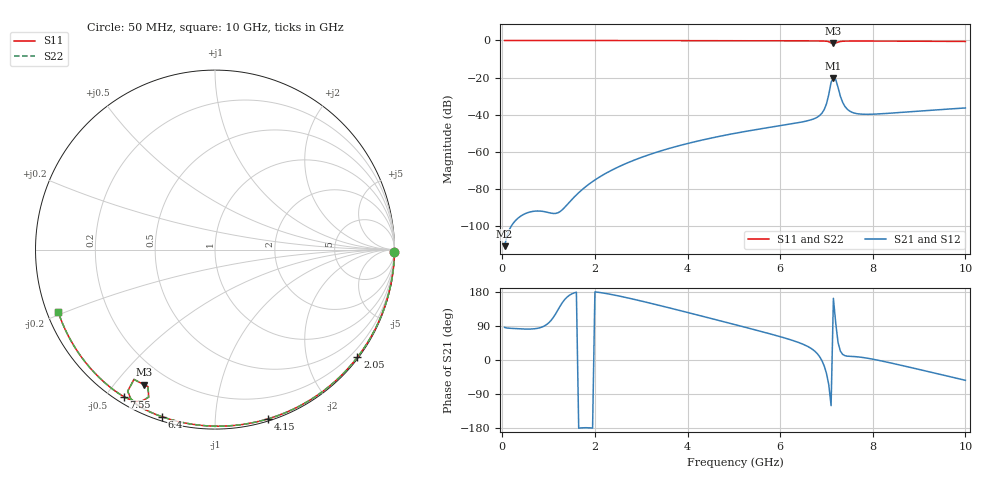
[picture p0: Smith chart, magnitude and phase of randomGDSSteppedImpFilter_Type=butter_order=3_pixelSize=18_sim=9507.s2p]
! freq	dB(S11)	phase(S11)	dB(S12)	phase(S12)
!  dB(S21)	phase(S21)	dB(S22)	phase(S22)
!S-par simulation data
#  GHz  S  DB  R 50
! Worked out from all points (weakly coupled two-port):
!   200 points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, 50 MHz to 10 GHz, reference 50 ohm
!   highest |S21| = -20.30 dB at 7.15 GHz (marker M1); lowest = -111.1 dB at 50 MHz (marker M2)
!   lowest |S11| = -1.4 dB at 7.15 GHz (marker M3), VSWR 12.33, Z = 5.53 - j30 ohm
!   |S11| at or under -10 dB: nowhere
!   |S22| runs from -1.4 to 0.0 dB; largest |S21 - S12| = 0
!   S11 on the Smith chart (normalised r, x): 50 MHz: open; 2.05 GHz: 0.03, -2.98; 4.15 GHz: 0.02, -1.36; 6.4 GHz: 0.02, -0.73; 7.55 GHz: 0.02, -0.56; 10 GHz: 0.03, -0.19
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0.05  -0.00 -0.9  -111.06 86.1  -111.06 86.1  -0.00 -0.9
1.75  -0.04 -31.7  -79.98 -178.8  -79.98 -178.8  -0.04 -31.7
2.05  -0.05 -37.0  -74.50 179.0  -74.50 179.0  -0.05 -37.0
2.65  -0.06 -47.5  -66.65 165.5  -66.65 165.5  -0.06 -47.5
3.4  -0.08 -60.2  -59.80 143.8  -59.80 143.8  -0.08 -60.2
4.15  -0.10 -72.5  -54.72 120.8  -54.72 120.8  -0.10 -72.5
5.05  -0.13 -86.8  -50.01 92.6  -50.01 92.6  -0.13 -86.8
6.4  -0.20 -107.7  -44.36 46.1  -44.36 46.1  -0.20 -107.7
6.7  -0.23 -112.6  -42.57 28.0  -42.57 28.0  -0.23 -112.6
6.85  -0.27 -115.5  -40.60 9.3  -40.60 9.3  -0.27 -115.5
6.95  -0.33 -117.9  -37.39 -15.3  -37.39 -15.3  -0.33 -117.9
7  -0.42 -119.6  -34.23 -35.2  -34.23 -35.2  -0.42 -119.5
7.1  -1.38 -122.0  -22.58 -120.5  -22.58 -120.5  -1.39 -121.9
7.15  -1.41 -117.7  -20.30 162.8  -20.30 162.8  -1.41 -117.6
7.2  -1.41 -116.0  -21.09 97.6  -21.09 97.6  -1.40 -116.0
7.3  -0.55 -115.8  -30.09 23.4  -30.09 23.4  -0.55 -115.8
7.35  -0.42 -117.4  -33.44 14.7  -33.44 14.7  -0.42 -117.4
7.45  -0.34 -119.9  -37.14 10.1  -37.14 10.1  -0.34 -119.9
7.55  -0.32 -121.9  -38.77 9.4  -38.77 9.4  -0.32 -121.9
7.8  -0.32 -126.1  -39.84 6.4  -39.84 6.4  -0.32 -126.1
8.35  -0.35 -134.4  -39.31 -6.8  -39.31 -6.8  -0.35 -134.4
10  -0.54 -158.4  -36.45 -53.6  -36.45 -53.6  -0.54 -158.4
